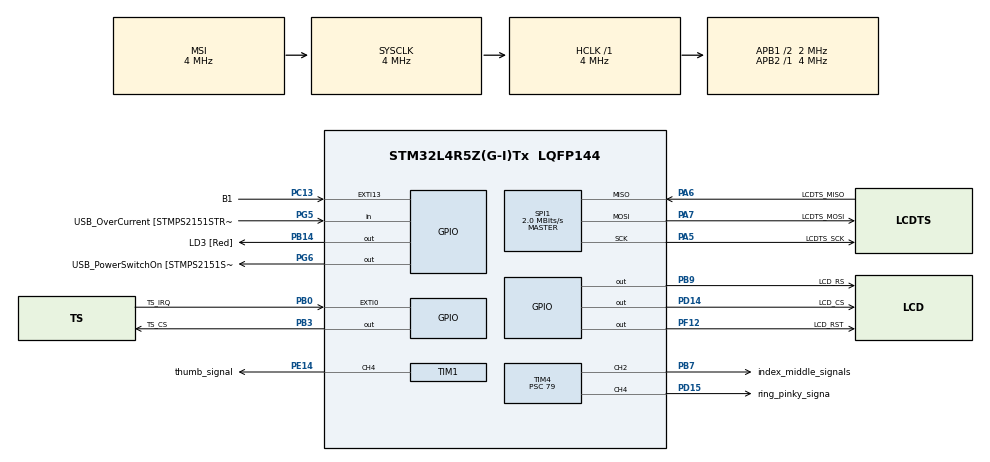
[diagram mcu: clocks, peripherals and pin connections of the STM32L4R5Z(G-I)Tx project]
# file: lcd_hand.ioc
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Dma.Request0=SPI1_RX
Dma.Request1=SPI1_TX
Dma.SPI1_RX.0.Direction=DMA_PERIPH_TO_MEMORY
Dma.SPI1_RX.0.EventEnable=DISABLE
Dma.SPI1_RX.0.Instance=DMA1_Channel1
Dma.SPI1_RX.0.MemDataAlignment=DMA_MDATAALIGN_BYTE
Dma.SPI1_RX.0.MemInc=DMA_MINC_ENABLE
Dma.SPI1_RX.0.Mode=DMA_NORMAL
Dma.SPI1_RX.0.PeriphDataAlignment=DMA_PDATAALIGN_HALFWORD
Dma.SPI1_RX.0.PeriphInc=DMA_PINC_DISABLE
Dma.SPI1_RX.0.Polarity=HAL_DMAMUX_REQUEST_GEN_RISING
Dma.SPI1_RX.0.Priority=DMA_PRIORITY_LOW
Dma.SPI1_RX.0.RequestNumber=1
Dma.SPI1_RX.0.SignalID=NONE
Dma.SPI1_RX.0.SyncEnable=DISABLE
Dma.SPI1_RX.0.SyncPolarity=HAL_DMAMUX_SYNC_NO_EVENT
Dma.SPI1_RX.0.SyncRequestNumber=1
Dma.SPI1_RX.0.SyncSignalID=NONE
Dma.SPI1_TX.1.Direction=DMA_MEMORY_TO_PERIPH
Dma.SPI1_TX.1.EventEnable=DISABLE
Dma.SPI1_TX.1.Instance=DMA1_Channel2
Dma.SPI1_TX.1.MemDataAlignment=DMA_MDATAALIGN_BYTE
Dma.SPI1_TX.1.MemInc=DMA_MINC_ENABLE
Dma.SPI1_TX.1.Mode=DMA_NORMAL
Dma.SPI1_TX.1.PeriphDataAlignment=DMA_PDATAALIGN_BYTE
Dma.SPI1_TX.1.PeriphInc=DMA_PINC_DISABLE
Dma.SPI1_TX.1.Polarity=HAL_DMAMUX_REQUEST_GEN_RISING
Dma.SPI1_TX.1.Priority=DMA_PRIORITY_LOW
Dma.SPI1_TX.1.RequestNumber=1
Dma.SPI1_TX.1.SignalID=NONE
Dma.SPI1_TX.1.SyncEnable=DISABLE
Dma.SPI1_TX.1.SyncPolarity=HAL_DMAMUX_SYNC_NO_EVENT
Dma.SPI1_TX.1.SyncRequestNumber=1
Dma.SPI1_TX.1.SyncSignalID=NONE
Mcu.Family=STM32L4
Mcu.Name=STM32L4R5Z(G-I)Tx
Mcu.Package=LQFP144
NVIC.DMA1_Channel1_IRQn=true\:0\:0\:false\:false\:true\:false\:true\:true
NVIC.DMA1_Channel2_IRQn=true\:0\:0\:false\:false\:true\:false\:true\:true
NVIC.EXTI0_IRQn=true\:0\:0\:false\:false\:true\:true\:true\:true
NVIC.PriorityGroup=NVIC_PRIORITYGROUP_4
NVIC.SPI1_IRQn=true\:0\:0\:false\:false\:true\:true\:true\:true
PA10.GPIO_Label=USB_ID
PA10.Signal=USB_OTG_FS_ID
PA11.GPIO_Label=USB_DM
PA11.Signal=USB_OTG_FS_DM
PA12.GPIO_Label=USB_DP
PA12.Signal=USB_OTG_FS_DP
PA13\ (JTMS/SWDIO).GPIO_Label=TMS
PA13\ (JTMS/SWDIO).Signal=SYS_JTMS-SWDIO
PA14\ (JTCK/SWCLK).GPIO_Label=TCK
PA14\ (JTCK/SWCLK).Signal=SYS_JTCK-SWCLK
PA5.GPIO_Label=LCDTS_SCK
PA5.Mode=Full_Duplex_Master
PA5.Signal=SPI1_SCK
PA6.GPIO_Label=LCDTS_MISO
PA6.Mode=Full_Duplex_Master
PA6.Signal=SPI1_MISO
PA7.GPIO_Label=LCDTS_MOSI
PA7.Mode=Full_Duplex_Master
PA7.Signal=SPI1_MOSI
PA8.GPIO_Label=USB_SOF [TP1]
PA8.Signal=USB_OTG_FS_SOF
PA9.GPIO_Label=USB_VBUS
PA9.Signal=USB_OTG_FS_VBUS
PB0.GPIO_Label=TS_IRQ
PB0.GPIO_ModeDefaultEXTI=GPIO_MODE_IT_FALLING
PB0.GPIO_PuPd=GPIO_NOPULL
PB0.Signal=GPXTI0
PB14.GPIO_Label=LD3 [Red]
PB14.PinState=GPIO_PIN_RESET
PB14.Signal=GPIO_Output
PB3\ (JTDO/TRACESWO).GPIO_Label=TS_CS
PB3\ (JTDO/TRACESWO).PinState=GPIO_PIN_SET
PB3\ (JTDO/TRACESWO).Signal=GPIO_Output
PB7.GPIO_Label=index_middle_signals
PB7.Signal=S_TIM4_CH2
PB9.GPIO_Label=LCD_RS
PB9.GPIO_Speed=GPIO_SPEED_FREQ_VERY_HIGH
PB9.Signal=GPIO_Output
PC13.GPIO_Label=B1
PC13.Signal=GPXTI13
PC14-OSC32_IN\ (PC14).Mode=LSE-External-Oscillator
PC14-OSC32_IN\ (PC14).Signal=RCC_OSC32_IN
PC15-OSC32_OUT\ (PC15).Mode=LSE-External-Oscillator
PC15-OSC32_OUT\ (PC15).Signal=RCC_OSC32_OUT
PD14.GPIO_Label=LCD_CS
PD14.GPIO_Speed=GPIO_SPEED_FREQ_VERY_HIGH
PD14.PinState=GPIO_PIN_SET
PD14.Signal=GPIO_Output
PD15.GPIO_Label=ring_pinky_signa
PD15.Signal=S_TIM4_CH4
PD8.GPIO_Label=STLK_RX [STM32F103CBT6_PA3]
PD8.Signal=USART3_TX
PD9.GPIO_Label=STLK_TX [STM32F103CBT6_PA2]
PD9.Signal=USART3_RX
PE14.GPIO_Label=thumb_signal
PE14.Signal=S_TIM1_CH4
PF12.GPIO_Label=LCD_RST
PF12.GPIO_Speed=GPIO_SPEED_FREQ_LOW
PF12.PinState=GPIO_PIN_SET
PF12.Signal=GPIO_Output
PG5.GPIO_Label=USB_OverCurrent [STMPS2151STR_FAULT]
PG5.Signal=GPIO_Input
PG6.GPIO_Label=USB_PowerSwitchOn [STMPS2151STR_En]
PG6.Signal=GPIO_Output
PG7.GPIO_Label=STLINK_TX
PG7.Signal=LPUART1_TX
PG8.GPIO_Label=STLINK_RX
PG8.Signal=LPUART1_RX
PH0-OSC_IN\ (PH0).Mode=HSE-External-Clock-Source
PH0-OSC_IN\ (PH0).Signal=RCC_OSC_IN
PH1-OSC_OUT\ (PH1).Signal=RCC_OSC_OUT
ProjectManager.HeapSize=0x200
ProjectManager.StackSize=0x400
ProjectManager.TargetToolchain=STM32CubeIDE
RCC.48MHZClocksFreq_Value=24000000
RCC.ADCFreq_Value=16000000
RCC.AHBFreq_Value=4000000
RCC.APB1CLKDivider=RCC_HCLK_DIV2
RCC.APB1Freq_Value=2000000
RCC.APB1TimFreq_Value=4000000
RCC.APB2Freq_Value=4000000
RCC.APB2TimFreq_Value=4000000
RCC.CortexFreq_Value=4000000
RCC.HCLKFreq_Value=4000000
RCC.HSE_VALUE=8000000
RCC.HSI48_VALUE=48000000
RCC.HSI_VALUE=16000000
RCC.MSI_VALUE=4000000
RCC.PLLMUL=RCC_PLL_MUL9
RCC.PRESCALERUSB=RCC_USBCLKSOURCE_PLL_DIV1_5
RCC.SYSCLKFreq_VALUE=4000000
RCC.SYSCLKSourceVirtual=RCC_SYSCLKSOURCE_PLLCLK
RCC.USBFreq_Value=16000000
RCC.VCOOutputFreq_Value=32000000
SH.S_TIM1_CH4.0=TIM1_CH4,PWM Generation4 CH4
SH.S_TIM4_CH2.0=TIM4_CH2,PWM Generation2 CH2
SH.S_TIM4_CH4.0=TIM4_CH4,PWM Generation4 CH4
SPI1.BaudRatePrescaler=SPI_BAUDRATEPRESCALER_2
SPI1.CalculateBaudRate=2.0 MBits/s
SPI1.DataSize=SPI_DATASIZE_8BIT
SPI1.Direction=SPI_DIRECTION_2LINES
SPI1.Mode=SPI_MODE_MASTER
SPI1.VirtualType=VM_MASTER
TIM1.AutoReloadPreload=TIM_AUTORELOAD_PRELOAD_ENABLE
TIM1.Channel-PWM\ Generation4\ CH4=TIM_CHANNEL_4
TIM1.Period=999
TIM1.Prescaler=79
TIM1.Pulse-PWM\ Generation4\ CH4=250
TIM4.AutoReloadPreload=TIM_AUTORELOAD_PRELOAD_ENABLE
TIM4.Channel-PWM\ Generation2\ CH2=TIM_CHANNEL_2
TIM4.Channel-PWM\ Generation4\ CH4=TIM_CHANNEL_4
TIM4.Period=999
TIM4.Prescaler=79
TIM4.Pulse-PWM\ Generation2\ CH2=50
board=NUCLEO-L4R5ZI

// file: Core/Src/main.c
/* USER CODE BEGIN Header */
/**
  ******************************************************************************
  * @file           : main.c
  * @brief          : Main program body
  ******************************************************************************
  * @attention
  *
  * Copyright (c) 2025 STMicroelectronics.
  * All rights reserved.
  *
  * This software is licensed under terms that can be found in the LICENSE file
  * in the root directory of this software component.
  * If no LICENSE file comes with this software, it is provided AS-IS.
  *
  ******************************************************************************
  */
/* USER CODE END Header */
#include "main.h"

/* USER CODE BEGIN Includes */
#include <stdlib.h>
#include <stdio.h>
#include "bitmap.h"
/* BSP LCD driver */
#include "Lcd/stm32_ili9488_lcd.h"

/* BSP TS driver */
#include "Lcd/stm32_ili9488_ts.h"
#include "game.h"
/* USER CODE END Includes */

SPI_HandleTypeDef hspi1;
DMA_HandleTypeDef hdma_spi1_rx;
DMA_HandleTypeDef hdma_spi1_tx;

TIM_HandleTypeDef htim1;
TIM_HandleTypeDef htim4;

/* USER CODE BEGIN PV */
extern LCD_DrvTypeDef *lcd_drv;
/* USER CODE END PV */

void SystemClock_Config(void);
static void MX_GPIO_Init(void);
static void MX_DMA_Init(void);
static void MX_SPI1_Init(void);
static void MX_TIM1_Init(void);
static void MX_TIM4_Init(void);
/* USER CODE BEGIN PFP */
void mainApp(void);

/* USER CODE END PFP */

/* USER CODE BEGIN 0 */

struct GameInfo prevMatch = {NOGAME, NOCHOICE, NOCHOICE};
uint16_t xboxsize;

GameResult getGameResult(Gesture userChoice, Gesture robotChoice) {
    if (userChoice == robotChoice) {
       return TIED;
    }
    else if ((userChoice == ROCK && robotChoice == SCISSORS) || (userChoice == PAPER && robotChoice == ROCK) || (userChoice == SCISSORS && robotChoice == PAPER)) {
      return USER_WINS;
    }
    return ROBOT_WINS;
}

uint16_t* getBitMap(Gesture choice) {
    uint16_t* bitmap;
    switch (choice){
    case ROCK:
       bitmap = rockBitMap;
       break;
    case SCISSORS:
        bitmap = scissorBitMap;
        break;
    default:
        bitmap = paperBitMap;
    }
    return bitmap;
}

void displayText() {
	// font24 has 6 lines (0-5)
	  int resultTextLine = 5;

	if (prevMatch.res == NOGAME) {
		return;
	}
	BSP_LCD_ClearStringLine(resultTextLine);
	if (prevMatch.res == TIED) {
		BSP_LCD_DisplayStringAtLine(resultTextLine, (uint8_t*)"Stalemate");
	}
	else if (prevMatch.res == USER_WINS) {
		BSP_LCD_DisplayStringAtLine(resultTextLine, (uint8_t*)"You win!");
	}
	else if (prevMatch.res == ROBOT_WINS){
		BSP_LCD_DisplayStringAtLine(resultTextLine, (uint8_t*)"You lost");
	}
}
// Change graphics and result text to reflect current match info.
void displayLCD(struct GameInfo curMatch)
{

  uint16_t lcd_height = BSP_LCD_GetYSize();
  if (prevMatch.res != curMatch.res) {
	  prevMatch.res = curMatch.res;
	  displayText();
  }
  uint16_t* userBitmap = getBitMap(curMatch.userChoice);
  uint16_t* robotBitmap = getBitMap(curMatch.robotChoice);
  if (prevMatch.userChoice != curMatch.userChoice) {
	  prevMatch.userChoice = curMatch.userChoice;
	  BSP_LCD_DrawRGB16Image(0, lcd_height/2, 100, 100, (uint16_t*)userBitmap);
  }
  if (prevMatch.robotChoice != curMatch.robotChoice) {
	  prevMatch.robotChoice = curMatch.robotChoice;
	  BSP_LCD_DrawRGB16Image(BSP_LCD_GetXSize()-100, BSP_LCD_GetYSize()/2, 100, 100, (uint16_t*)robotBitmap);
  }
}

uint16_t XPT2046_ReadValue(uint8_t cmd) // command used to read x, y, or z value
{
	    uint8_t tx[3] = {cmd, 0x00, 0x00};  // Command + 2 dummy bytes
	    uint8_t rx[3] = {0};

	    // Set CS low to start communication
	    HAL_GPIO_WritePin(TS_CS_GPIO_Port, TS_CS_Pin, GPIO_PIN_RESET);

	    HAL_SPI_TransmitReceive(&hspi1, tx, rx, 3, HAL_MAX_DELAY);

	    // Set CS high to end communication
	    HAL_GPIO_WritePin(TS_CS_GPIO_Port, TS_CS_Pin, GPIO_PIN_SET);

	    // Combine the two response bytes into a 12-bit value
	    uint16_t value = ((rx[1] << 8) | rx[2]) >> 3;  // 12-bit ADC
	    return value;
}

void HAL_GPIO_EXTI_Callback(uint16_t pin) {
	if (pin == TS_IRQ_Pin) {
		// disable interrupt be setting it high because reading would cause handler to trigger again
		 HAL_NVIC_DisableIRQ(EXTI0_IRQn); // NOTE: change this if we changed exti number for touch detection
		 while (HAL_GPIO_ReadPin(TS_IRQ_GPIO_Port, TS_IRQ_Pin) == GPIO_PIN_RESET);

		// get x, y points
		 uint16_t x_raw, y_raw;

		  x_raw = XPT2046_ReadValue(0xD1);  // X command (D1?)  1(___)00(00)
		  y_raw = XPT2046_ReadValue(0x91);  // Y command (91?)
		  uint16_t curTextcolor = BSP_LCD_GetTextColor();
		  if (curTextcolor == LCD_COLOR_MAGENTA) {
			  BSP_LCD_SetTextColor(LCD_COLOR_WHITE);
		  }
		  else {
			  BSP_LCD_SetTextColor(LCD_COLOR_MAGENTA);
		  }
         displayText();
         __HAL_GPIO_EXTI_CLEAR_IT(TS_IRQ_Pin);
         HAL_NVIC_ClearPendingIRQ(EXTI0_IRQn);

		 HAL_NVIC_EnableIRQ(EXTI0_IRQn);

	}
}

void move_hand(Gesture robotMove)
{
	//  CCR 50 = 0 degrees, CCR 150 = 90 degrees, CCR 250 = 180 degrees
  if (prevMatch.robotChoice != robotMove) {
	  if (robotMove == ROCK) { // thumb ccr to 250, other timers' CCR set to 50
			  while (htim4.Instance->CCR2 > 50 || htim4.Instance->CCR4 > 50 || htim1.Instance->CCR4 < 250) {
			  		if (htim4.Instance->CCR2 > 50) {
			  		 __HAL_TIM_SET_COMPARE(&htim4, TIM_CHANNEL_2, htim4.Instance->CCR2-1);
			  		}
			  		if (htim4.Instance->CCR4 > 50) {
			  		 __HAL_TIM_SET_COMPARE(&htim4, TIM_CHANNEL_4, htim4.Instance->CCR4-1);
			  		}
			  		if (htim1.Instance->CCR4 < 250) {
				  	 __HAL_TIM_SET_COMPARE(&htim1, TIM_CHANNEL_4, htim1.Instance->CCR4+1);
			  		}
			  		HAL_Delay(20);
			  }
		  }
		  else if (robotMove == PAPER) { // thumb ccr to 50, other timers' CCR set to 250
			  while (htim4.Instance->CCR2 < 250 || htim4.Instance->CCR4 < 250 || htim1.Instance->CCR4 > 50) {
				  if (htim4.Instance->CCR2 < 250) {
					  __HAL_TIM_SET_COMPARE(&htim4, TIM_CHANNEL_2, htim4.Instance->CCR2+1);
				  }
				  if (htim4.Instance->CCR4 < 250) {
					  __HAL_TIM_SET_COMPARE(&htim4, TIM_CHANNEL_4, htim4.Instance->CCR4+1);
				  }
				  if (htim1.Instance->CCR4 > 50) {
					 __HAL_TIM_SET_COMPARE(&htim1, TIM_CHANNEL_4, htim1.Instance->CCR4-1);
				  }
				  HAL_Delay(20);
			  }
	  }
	  else if (robotMove == SCISSORS) {
		  // thumb ccr => 250
		  // tim4ch2 represents index and middle fingers -> set CCR to 50
		  // tim4ch4 CCR set to 250
		  while (htim4.Instance->CCR2 < 250 || htim4.Instance->CCR4 > 50 || htim1.Instance->CCR4 < 250) {
		  		if (htim4.Instance->CCR2 < 250) {
		  			__HAL_TIM_SET_COMPARE(&htim4, TIM_CHANNEL_2, htim4.Instance->CCR2+1);
		  		}
		  		if (htim4.Instance->CCR4 > 50) {
		  			__HAL_TIM_SET_COMPARE(&htim4, TIM_CHANNEL_4, htim4.Instance->CCR4-1);
		  		}
		  	    if (htim1.Instance->CCR4 < 250) {
		  			__HAL_TIM_SET_COMPARE(&htim1, TIM_CHANNEL_4, htim1.Instance->CCR4+1);
		  		}
		  		HAL_Delay(20);
		  	}
	  }
  }
}

/* USER CODE END 0 */

int main(void)
{

  /* MCU Configuration--------------------------------------------------------*/

  /* Reset of all peripherals, Initializes the Flash interface and the Systick. */
  HAL_Init();

  /* Configure the system clock */
  SystemClock_Config();

  /* Initialize all configured peripherals */
  MX_GPIO_Init();
  MX_DMA_Init();
  MX_SPI1_Init();
  MX_TIM1_Init();
  MX_TIM4_Init();
  /* USER CODE BEGIN 2 */

  // Start timers for hand: start off with hand position
   HAL_TIM_PWM_Start(&htim4, TIM_CHANNEL_2);  // index and middle fingers: CCR=250 is stretched, CCR=50 is curled
   HAL_TIM_PWM_Start(&htim4, TIM_CHANNEL_4);
   HAL_TIM_PWM_Start(&htim1, TIM_CHANNEL_4); // thumb finger: CCR=50 is stretched, CCR=250 is curled

  uint16_t lcd_width = BSP_LCD_GetXSize();
  uint16_t lcd_height = BSP_LCD_GetYSize();
  BSP_LCD_Init();
  BSP_TS_Init(lcd_width, lcd_height);
  BSP_LCD_Clear(LCD_COLOR_BLACK);

  xboxsize = lcd_width / 6; // box size is 320/6 => 53

  BSP_LCD_SetTextColor(LCD_COLOR_RED);
  BSP_LCD_FillRect(0, 0, xboxsize, xboxsize);
  BSP_LCD_SetTextColor(LCD_COLOR_YELLOW);
  BSP_LCD_FillRect(xboxsize, 0, xboxsize, xboxsize);
  BSP_LCD_SetTextColor(LCD_COLOR_GREEN);
  BSP_LCD_FillRect(xboxsize * 2, 0, xboxsize, xboxsize);
  BSP_LCD_SetTextColor(LCD_COLOR_CYAN);
  BSP_LCD_FillRect(xboxsize * 3, 0, xboxsize, xboxsize);
  BSP_LCD_SetTextColor(LCD_COLOR_BLUE);
  BSP_LCD_FillRect(xboxsize * 4, 0, xboxsize, xboxsize);
  BSP_LCD_SetTextColor(LCD_COLOR_MAGENTA);
  BSP_LCD_FillRect(xboxsize * 5, 0, xboxsize, xboxsize);
  BSP_LCD_SetTextColor(LCD_COLOR_WHITE); // set initial text color to white
  BSP_LCD_DrawRect(0, 0, xboxsize, xboxsize);

  while (htim4.Instance->CCR2 < 150 || htim4.Instance->CCR4 < 150 || htim1.Instance->CCR4 < 150) {
			  if (htim4.Instance->CCR2 < 150) {
				  __HAL_TIM_SET_COMPARE(&htim4, TIM_CHANNEL_2, htim4.Instance->CCR2+1);
			  }
			  if (htim4.Instance->CCR4 < 150) {
				  __HAL_TIM_SET_COMPARE(&htim4, TIM_CHANNEL_4, htim4.Instance->CCR4+1);
			  }
			  if (htim1.Instance->CCR4 < 150) {
				 __HAL_TIM_SET_COMPARE(&htim1, TIM_CHANNEL_4, htim1.Instance->CCR4+1);
			  }
			  HAL_Delay(20);
  }

  HAL_Delay(5000);
  /* USER CODE END 2 */

  /* Infinite loop */
  /* USER CODE BEGIN WHILE */
  while (1)
  {
	 srand(HAL_GetTick());

    int userPick = rand() % 3;
    int robotPick = rand() % 3;
    Gesture userGesture = (Gesture)userPick;
    Gesture robotGesture = (Gesture)robotPick;
    GameResult res = getGameResult(userGesture, robotGesture);
    struct GameInfo matchInfo = {res, userGesture, robotGesture};
    move_hand(robotGesture);
    displayLCD(matchInfo);
    HAL_Delay(2000); // wait 2 seconds before starting another match
    /* USER CODE END WHILE */

  }
}

void SystemClock_Config(void)
{
  RCC_OscInitTypeDef RCC_OscInitStruct = {0};
  RCC_ClkInitTypeDef RCC_ClkInitStruct = {0};

  /** Configure the main internal regulator output voltage
  */
  if (HAL_PWREx_ControlVoltageScaling(PWR_REGULATOR_VOLTAGE_SCALE1) != HAL_OK)
  {
    Error_Handler();
  }

  /** Initializes the RCC Oscillators according to the specified parameters
  * in the RCC_OscInitTypeDef structure.
  */
  RCC_OscInitStruct.OscillatorType = RCC_OSCILLATORTYPE_MSI;
  RCC_OscInitStruct.MSIState = RCC_MSI_ON;
  RCC_OscInitStruct.MSICalibrationValue = 0;
  RCC_OscInitStruct.MSIClockRange = RCC_MSIRANGE_6;
  RCC_OscInitStruct.PLL.PLLState = RCC_PLL_NONE;
  if (HAL_RCC_OscConfig(&RCC_OscInitStruct) != HAL_OK)
  {
    Error_Handler();
  }

  /** Initializes the CPU, AHB and APB buses clocks
  */
  RCC_ClkInitStruct.ClockType = RCC_CLOCKTYPE_HCLK|RCC_CLOCKTYPE_SYSCLK
                              |RCC_CLOCKTYPE_PCLK1|RCC_CLOCKTYPE_PCLK2;
  RCC_ClkInitStruct.SYSCLKSource = RCC_SYSCLKSOURCE_MSI;
  RCC_ClkInitStruct.AHBCLKDivider = RCC_SYSCLK_DIV1;
  RCC_ClkInitStruct.APB1CLKDivider = RCC_HCLK_DIV2;
  RCC_ClkInitStruct.APB2CLKDivider = RCC_HCLK_DIV1;

  if (HAL_RCC_ClockConfig(&RCC_ClkInitStruct, FLASH_LATENCY_0) != HAL_OK)
  {
    Error_Handler();
  }
}

static void MX_SPI1_Init(void)
{

  /* SPI1 parameter configuration*/
  hspi1.Instance = SPI1;
  hspi1.Init.Mode = SPI_MODE_MASTER;
  hspi1.Init.Direction = SPI_DIRECTION_2LINES;
  hspi1.Init.DataSize = SPI_DATASIZE_8BIT;
  hspi1.Init.CLKPolarity = SPI_POLARITY_LOW;
  hspi1.Init.CLKPhase = SPI_PHASE_1EDGE;
  hspi1.Init.NSS = SPI_NSS_SOFT;
  hspi1.Init.BaudRatePrescaler = SPI_BAUDRATEPRESCALER_2;
  hspi1.Init.FirstBit = SPI_FIRSTBIT_MSB;
  hspi1.Init.TIMode = SPI_TIMODE_DISABLE;
  hspi1.Init.CRCCalculation = SPI_CRCCALCULATION_DISABLE;
  hspi1.Init.CRCPolynomial = 7;
  hspi1.Init.CRCLength = SPI_CRC_LENGTH_DATASIZE;
  hspi1.Init.NSSPMode = SPI_NSS_PULSE_ENABLE;
  if (HAL_SPI_Init(&hspi1) != HAL_OK)
  {
    Error_Handler();
  }

}

static void MX_TIM1_Init(void)
{

  TIM_MasterConfigTypeDef sMasterConfig = {0};
  TIM_OC_InitTypeDef sConfigOC = {0};
  TIM_BreakDeadTimeConfigTypeDef sBreakDeadTimeConfig = {0};

  htim1.Instance = TIM1;
  htim1.Init.Prescaler = 79;
  htim1.Init.CounterMode = TIM_COUNTERMODE_UP;
  htim1.Init.Period = 999;
  htim1.Init.ClockDivision = TIM_CLOCKDIVISION_DIV1;
  htim1.Init.RepetitionCounter = 0;
  htim1.Init.AutoReloadPreload = TIM_AUTORELOAD_PRELOAD_ENABLE;
  if (HAL_TIM_PWM_Init(&htim1) != HAL_OK)
  {
    Error_Handler();
  }
  sMasterConfig.MasterOutputTrigger = TIM_TRGO_RESET;
  sMasterConfig.MasterOutputTrigger2 = TIM_TRGO2_RESET;
  sMasterConfig.MasterSlaveMode = TIM_MASTERSLAVEMODE_DISABLE;
  if (HAL_TIMEx_MasterConfigSynchronization(&htim1, &sMasterConfig) != HAL_OK)
  {
    Error_Handler();
  }
  sConfigOC.OCMode = TIM_OCMODE_PWM1;
  sConfigOC.Pulse = 150;
  sConfigOC.OCPolarity = TIM_OCPOLARITY_HIGH;
  sConfigOC.OCFastMode = TIM_OCFAST_DISABLE;
  sConfigOC.OCIdleState = TIM_OCIDLESTATE_RESET;
  sConfigOC.OCNIdleState = TIM_OCNIDLESTATE_RESET;
  if (HAL_TIM_PWM_ConfigChannel(&htim1, &sConfigOC, TIM_CHANNEL_4) != HAL_OK)
  {
    Error_Handler();
  }
  sBreakDeadTimeConfig.OffStateRunMode = TIM_OSSR_DISABLE;
  sBreakDeadTimeConfig.OffStateIDLEMode = TIM_OSSI_DISABLE;
  sBreakDeadTimeConfig.LockLevel = TIM_LOCKLEVEL_OFF;
  sBreakDeadTimeConfig.DeadTime = 0;
  sBreakDeadTimeConfig.BreakState = TIM_BREAK_DISABLE;
  sBreakDeadTimeConfig.BreakPolarity = TIM_BREAKPOLARITY_HIGH;
  sBreakDeadTimeConfig.BreakFilter = 0;
  sBreakDeadTimeConfig.Break2State = TIM_BREAK2_DISABLE;
  sBreakDeadTimeConfig.Break2Polarity = TIM_BREAK2POLARITY_HIGH;
  sBreakDeadTimeConfig.Break2Filter = 0;
  sBreakDeadTimeConfig.AutomaticOutput = TIM_AUTOMATICOUTPUT_DISABLE;
  if (HAL_TIMEx_ConfigBreakDeadTime(&htim1, &sBreakDeadTimeConfig) != HAL_OK)
  {
    Error_Handler();
  }
  HAL_TIM_MspPostInit(&htim1);

}

static void MX_TIM4_Init(void)
{

  TIM_MasterConfigTypeDef sMasterConfig = {0};
  TIM_OC_InitTypeDef sConfigOC = {0};

  htim4.Instance = TIM4;
  htim4.Init.Prescaler = 79;
  htim4.Init.CounterMode = TIM_COUNTERMODE_UP;
  htim4.Init.Period = 999;
  htim4.Init.ClockDivision = TIM_CLOCKDIVISION_DIV1;
  htim4.Init.AutoReloadPreload = TIM_AUTORELOAD_PRELOAD_ENABLE;
  if (HAL_TIM_PWM_Init(&htim4) != HAL_OK)
  {
    Error_Handler();
  }
  sMasterConfig.MasterOutputTrigger = TIM_TRGO_RESET;
  sMasterConfig.MasterSlaveMode = TIM_MASTERSLAVEMODE_DISABLE;
  if (HAL_TIMEx_MasterConfigSynchronization(&htim4, &sMasterConfig) != HAL_OK)
  {
    Error_Handler();
  }
  sConfigOC.OCMode = TIM_OCMODE_PWM1;
  sConfigOC.Pulse = 150;
  sConfigOC.OCPolarity = TIM_OCPOLARITY_HIGH;
  sConfigOC.OCFastMode = TIM_OCFAST_DISABLE;
  if (HAL_TIM_PWM_ConfigChannel(&htim4, &sConfigOC, TIM_CHANNEL_2) != HAL_OK)
  {
    Error_Handler();
  }
  sConfigOC.Pulse = 150;
  if (HAL_TIM_PWM_ConfigChannel(&htim4, &sConfigOC, TIM_CHANNEL_4) != HAL_OK)
  {
    Error_Handler();
  }
  HAL_TIM_MspPostInit(&htim4);

}

static void MX_DMA_Init(void)
{

  /* DMA controller clock enable */
  __HAL_RCC_DMAMUX1_CLK_ENABLE();
  __HAL_RCC_DMA1_CLK_ENABLE();

  /* DMA interrupt init */
  /* DMA1_Channel1_IRQn interrupt configuration */
  HAL_NVIC_SetPriority(DMA1_Channel1_IRQn, 0, 0);
  HAL_NVIC_EnableIRQ(DMA1_Channel1_IRQn);
  /* DMA1_Channel2_IRQn interrupt configuration */
  HAL_NVIC_SetPriority(DMA1_Channel2_IRQn, 0, 0);
  HAL_NVIC_EnableIRQ(DMA1_Channel2_IRQn);

}

static void MX_GPIO_Init(void)
{
  GPIO_InitTypeDef GPIO_InitStruct = {0};

  /* GPIO Ports Clock Enable */
  __HAL_RCC_GPIOC_CLK_ENABLE();
  __HAL_RCC_GPIOH_CLK_ENABLE();
  __HAL_RCC_GPIOA_CLK_ENABLE();
  __HAL_RCC_GPIOB_CLK_ENABLE();
  __HAL_RCC_GPIOF_CLK_ENABLE();
  __HAL_RCC_GPIOE_CLK_ENABLE();
  __HAL_RCC_GPIOD_CLK_ENABLE();
  __HAL_RCC_GPIOG_CLK_ENABLE();
  HAL_PWREx_EnableVddIO2();

  /*Configure GPIO pin Output Level */
  HAL_GPIO_WritePin(LCD_RST_GPIO_Port, LCD_RST_Pin, GPIO_PIN_SET);

  /*Configure GPIO pin Output Level */
  HAL_GPIO_WritePin(GPIOB, LD3_Pin|LCD_RS_Pin, GPIO_PIN_RESET);

  /*Configure GPIO pin Output Level */
  HAL_GPIO_WritePin(LCD_CS_GPIO_Port, LCD_CS_Pin, GPIO_PIN_SET);

  /*Configure GPIO pin Output Level */
  HAL_GPIO_WritePin(USB_PowerSwitchOn_GPIO_Port, USB_PowerSwitchOn_Pin, GPIO_PIN_RESET);

  /*Configure GPIO pin Output Level */
  HAL_GPIO_WritePin(TS_CS_GPIO_Port, TS_CS_Pin, GPIO_PIN_SET);

  /*Configure GPIO pin : B1_Pin */
  GPIO_InitStruct.Pin = B1_Pin;
  GPIO_InitStruct.Mode = GPIO_MODE_IT_RISING;
  GPIO_InitStruct.Pull = GPIO_NOPULL;
  HAL_GPIO_Init(B1_GPIO_Port, &GPIO_InitStruct);

  /*Configure GPIO pin : TS_IRQ_Pin */
  GPIO_InitStruct.Pin = TS_IRQ_Pin;
  GPIO_InitStruct.Mode = GPIO_MODE_IT_FALLING;
  GPIO_InitStruct.Pull = GPIO_NOPULL;
  HAL_GPIO_Init(TS_IRQ_GPIO_Port, &GPIO_InitStruct);

  /*Configure GPIO pin : LCD_RST_Pin */
  GPIO_InitStruct.Pin = LCD_RST_Pin;
  GPIO_InitStruct.Mode = GPIO_MODE_OUTPUT_PP;
  GPIO_InitStruct.Pull = GPIO_NOPULL;
  GPIO_InitStruct.Speed = GPIO_SPEED_FREQ_LOW;
  HAL_GPIO_Init(LCD_RST_GPIO_Port, &GPIO_InitStruct);

  /*Configure GPIO pins : LD3_Pin TS_CS_Pin */
  GPIO_InitStruct.Pin = LD3_Pin|TS_CS_Pin;
  GPIO_InitStruct.Mode = GPIO_MODE_OUTPUT_PP;
  GPIO_InitStruct.Pull = GPIO_NOPULL;
  GPIO_InitStruct.Speed = GPIO_SPEED_FREQ_LOW;
  HAL_GPIO_Init(GPIOB, &GPIO_InitStruct);

  /*Configure GPIO pins : STLK_RX_Pin STLK_TX_Pin */
  GPIO_InitStruct.Pin = STLK_RX_Pin|STLK_TX_Pin;
  GPIO_InitStruct.Mode = GPIO_MODE_AF_PP;
  GPIO_InitStruct.Pull = GPIO_NOPULL;
  GPIO_InitStruct.Speed = GPIO_SPEED_FREQ_VERY_HIGH;
  GPIO_InitStruct.Alternate = GPIO_AF7_USART3;
  HAL_GPIO_Init(GPIOD, &GPIO_InitStruct);

  /*Configure GPIO pin : LCD_CS_Pin */
  GPIO_InitStruct.Pin = LCD_CS_Pin;
  GPIO_InitStruct.Mode = GPIO_MODE_OUTPUT_PP;
  GPIO_InitStruct.Pull = GPIO_NOPULL;
  GPIO_InitStruct.Speed = GPIO_SPEED_FREQ_VERY_HIGH;
  HAL_GPIO_Init(LCD_CS_GPIO_Port, &GPIO_InitStruct);

  /*Configure GPIO pin : USB_OverCurrent_Pin */
  GPIO_InitStruct.Pin = USB_OverCurrent_Pin;
  GPIO_InitStruct.Mode = GPIO_MODE_INPUT;
  GPIO_InitStruct.Pull = GPIO_NOPULL;
  HAL_GPIO_Init(USB_OverCurrent_GPIO_Port, &GPIO_InitStruct);

  /*Configure GPIO pin : USB_PowerSwitchOn_Pin */
  GPIO_InitStruct.Pin = USB_PowerSwitchOn_Pin;
  GPIO_InitStruct.Mode = GPIO_MODE_OUTPUT_PP;
  GPIO_InitStruct.Pull = GPIO_NOPULL;
  GPIO_InitStruct.Speed = GPIO_SPEED_FREQ_LOW;
  HAL_GPIO_Init(USB_PowerSwitchOn_GPIO_Port, &GPIO_InitStruct);

  /*Configure GPIO pins : STLINK_TX_Pin STLINK_RX_Pin */
  GPIO_InitStruct.Pin = STLINK_TX_Pin|STLINK_RX_Pin;
  GPIO_InitStruct.Mode = GPIO_MODE_AF_PP;
  GPIO_InitStruct.Pull = GPIO_NOPULL;
  GPIO_InitStruct.Speed = GPIO_SPEED_FREQ_VERY_HIGH;
  GPIO_InitStruct.Alternate = GPIO_AF8_LPUART1;
  HAL_GPIO_Init(GPIOG, &GPIO_InitStruct);

  /*Configure GPIO pins : USB_SOF_Pin USB_ID_Pin USB_DM_Pin USB_DP_Pin */
  GPIO_InitStruct.Pin = USB_SOF_Pin|USB_ID_Pin|USB_DM_Pin|USB_DP_Pin;
  GPIO_InitStruct.Mode = GPIO_MODE_AF_PP;
  GPIO_InitStruct.Pull = GPIO_NOPULL;
  GPIO_InitStruct.Speed = GPIO_SPEED_FREQ_VERY_HIGH;
  GPIO_InitStruct.Alternate = GPIO_AF10_OTG_FS;
  HAL_GPIO_Init(GPIOA, &GPIO_InitStruct);

  /*Configure GPIO pin : USB_VBUS_Pin */
  GPIO_InitStruct.Pin = USB_VBUS_Pin;
  GPIO_InitStruct.Mode = GPIO_MODE_INPUT;
  GPIO_InitStruct.Pull = GPIO_NOPULL;
  HAL_GPIO_Init(USB_VBUS_GPIO_Port, &GPIO_InitStruct);

  /*Configure GPIO pin : LCD_RS_Pin */
  GPIO_InitStruct.Pin = LCD_RS_Pin;
  GPIO_InitStruct.Mode = GPIO_MODE_OUTPUT_PP;
  GPIO_InitStruct.Pull = GPIO_NOPULL;
  GPIO_InitStruct.Speed = GPIO_SPEED_FREQ_VERY_HIGH;
  HAL_GPIO_Init(LCD_RS_GPIO_Port, &GPIO_InitStruct);

  /* EXTI interrupt init*/
  HAL_NVIC_SetPriority(EXTI0_IRQn, 0, 0);
  HAL_NVIC_EnableIRQ(EXTI0_IRQn);

}

void Error_Handler(void)
{
  __disable_irq();
  while (1)
  {
  }
}
